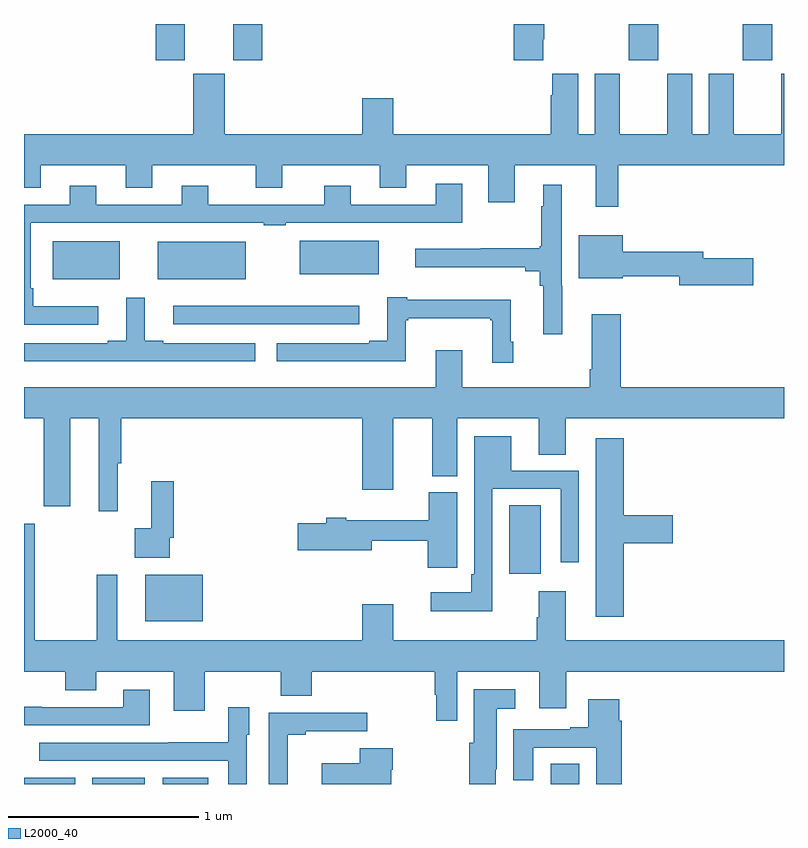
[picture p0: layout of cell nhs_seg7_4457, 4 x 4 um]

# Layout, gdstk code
import gdstk
lib = gdstk.Library(unit=1e-6, precision=1e-09)
def R(c, l, rs):  # rectangles x0, y0, x1, y1
    for r in rs: c.add(gdstk.rectangle(r[:2], r[2:], *l))
def P(c, l, *ps):  # polygons
    for p in ps: c.add(gdstk.Polygon(p, *l))
L2000_40 = (2000, 40)

nhs_seg7_4457 = lib.new_cell('nhs_seg7_4457')
R(nhs_seg7_4457, L2000_40, [(391,1024,391.269,1024.032), (391.358,1024,391.636,1024.033), (391.73,1024,391.969,1024.033), (393.773,1024,393.922,1024.106), (391.637,1024.856,391.942,1025.101), (393.554,1025.106,393.721,1025.468), (391.785,1026.42,392.764,1026.517), (391.151,1026.656,391.504,1026.856), (391.703,1026.656,392.167,1026.853), (392.45,1026.683,392.866,1026.859), (391.694,1027.809,391.846,1028), (392.102,1027.809,392.255,1028), (394.183,1027.809,394.338,1028), (394.783,1027.809,394.938,1028)])
P(nhs_seg7_4457, L2000_40, [(393.733,1027.921),(393.738,1027.921),(393.738,1028),(393.578,1028),(393.578,1027.809),(393.733,1027.809)],
  [(394.127,1027.256),(395,1027.256),(395,1027.738),(394.985,1027.738),(394.985,1027.42),(394.735,1027.42),(394.735,1027.738),(394.604,1027.738),(394.604,1027.42),(394.516,1027.42),(394.516,1027.738),(394.385,1027.738),(394.385,1027.42),(394.135,1027.42),(394.135,1027.738),(394.004,1027.738),(394.004,1027.42),(393.916,1027.42),(393.916,1027.738),(393.779,1027.738),(393.779,1027.625),(393.773,1027.625),(393.773,1027.42),(392.944,1027.42),(392.944,1027.609),(392.78,1027.609),(392.78,1027.42),(392.056,1027.42),(392.056,1027.737),(391.892,1027.737),(391.892,1027.42),(391,1027.42),(391,1027.139),(391.087,1027.139),(391.087,1027.256),(391.535,1027.256),(391.535,1027.139),(391.675,1027.139),(391.675,1027.256),(392.219,1027.256),(392.219,1027.139),(392.359,1027.139),(392.359,1027.256),(392.873,1027.256),(392.873,1027.139),(393.013,1027.139),(393.013,1027.256),(393.443,1027.256),(393.443,1027.062),(393.583,1027.062),(393.583,1027.256),(394.01,1027.256),(394.01,1027.038),(394.127,1027.038)],
  [(391.39,1026.514),(391.049,1026.514),(391.049,1026.61),(391.036,1026.61),(391.036,1026.954),(392.263,1026.954),(392.263,1026.942),(392.378,1026.942),(392.378,1026.954),(392.962,1026.954),(392.962,1026.953),(393.307,1026.953),(393.307,1027.159),(393.167,1027.159),(393.167,1027.05),(392.719,1027.05),(392.719,1027.15),(392.579,1027.15),(392.579,1027.05),(391.969,1027.05),(391.969,1027.15),(391.829,1027.15),(391.829,1027.05),(391.381,1027.05),(391.381,1027.15),(391.241,1027.15),(391.241,1027.05),(391,1027.05),(391,1026.417),(391.39,1026.417)],
  [(393.832,1026.623),(393.831,1026.623),(393.831,1027.153),(393.734,1027.153),(393.734,1027.04),(393.723,1027.04),(393.723,1026.829),(393.715,1026.829),(393.715,1026.819),(393.403,1026.819),(393.403,1026.817),(393.06,1026.817),(393.06,1026.719),(393.638,1026.719),(393.638,1026.7),(393.715,1026.7),(393.715,1026.623),(393.734,1026.623),(393.734,1026.366),(393.832,1026.366)],
  [(394.837,1026.768),(394.576,1026.768),(394.576,1026.802),(394.15,1026.802),(394.15,1026.889),(393.92,1026.889),(393.92,1026.662),(394.15,1026.662),(394.15,1026.673),(394.448,1026.673),(394.448,1026.626),(394.837,1026.626)],
  [(393.574,1026.328),(393.562,1026.328),(393.562,1026.55),(393.016,1026.55),(393.016,1026.562),(392.912,1026.562),(392.912,1026.334),(392.816,1026.334),(392.816,1026.321),(392.331,1026.321),(392.331,1026.224),(393.01,1026.224),(393.01,1026.441),(393.022,1026.441),(393.022,1026.452),(393.453,1026.452),(393.453,1026.441),(393.464,1026.441),(393.464,1026.216),(393.574,1026.216)],
  [(392.218,1026.321),(391.732,1026.321),(391.732,1026.334),(391.636,1026.334),(391.636,1026.559),(391.538,1026.559),(391.538,1026.334),(391.442,1026.334),(391.442,1026.321),(391,1026.321),(391,1026.224),(392.218,1026.224)],
  [(391.493,1025.688),(391.511,1025.688),(391.511,1025.924),(392.78,1025.924),(392.78,1025.55),(392.944,1025.55),(392.944,1025.924),(393.149,1025.924),(393.149,1025.62),(393.28,1025.62),(393.28,1025.924),(393.71,1025.924),(393.71,1025.734),(393.85,1025.734),(393.85,1025.924),(395,1025.924),(395,1026.088),(394.142,1026.088),(394.142,1026.472),(393.989,1026.472),(393.989,1026.184),(393.977,1026.184),(393.977,1026.088),(393.307,1026.088),(393.307,1026.283),(393.167,1026.283),(393.167,1026.088),(391,1026.088),(391,1025.924),(391.103,1025.924),(391.103,1025.463),(391.243,1025.463),(391.243,1025.924),(391.394,1025.924),(391.394,1025.436),(391.493,1025.436)],
  [(393.465,1025.553),(393.825,1025.553),(393.825,1025.166),(393.921,1025.166),(393.921,1025.649),(393.565,1025.649),(393.565,1025.83),(393.369,1025.83),(393.369,1025.104),(393.353,1025.104),(393.353,1025.008),(393.141,1025.008),(393.141,1024.91),(393.465,1024.91)],
  [(394.157,1025.267),(394.414,1025.267),(394.414,1025.414),(394.157,1025.414),(394.157,1025.821),(394.01,1025.821),(394.01,1024.881),(394.157,1024.881)],
  [(391.767,1025.296),(391.787,1025.296),(391.787,1025.593),(391.67,1025.593),(391.67,1025.345),(391.584,1025.345),(391.584,1025.192),(391.767,1025.192)],
  [(393.279,1025.251),(393.28,1025.251),(393.28,1025.535),(393.131,1025.535),(393.131,1025.389),(392.695,1025.389),(392.695,1025.402),(392.591,1025.402),(392.591,1025.372),(392.442,1025.372),(392.442,1025.23),(392.83,1025.23),(392.83,1025.28),(393.124,1025.28),(393.124,1025.139),(393.279,1025.139)],
  [(393.279,1024.592),(393.713,1024.592),(393.713,1024.398),(393.853,1024.398),(393.853,1024.592),(395,1024.592),(395,1024.756),(393.85,1024.756),(393.85,1025.014),(393.71,1025.014),(393.71,1024.877),(393.698,1024.877),(393.698,1024.756),(392.944,1024.756),(392.944,1024.945),(392.78,1024.945),(392.78,1024.756),(391.492,1024.756),(391.492,1025.101),(391.383,1025.101),(391.383,1024.756),(391.057,1024.756),(391.057,1025.371),(391,1025.371),(391,1024.592),(391.217,1024.592),(391.217,1024.493),(391.381,1024.493),(391.381,1024.592),(391.787,1024.592),(391.787,1024.386),(391.951,1024.386),(391.951,1024.592),(392.351,1024.592),(392.351,1024.464),(392.515,1024.464),(392.515,1024.592),(393.163,1024.592),(393.163,1024.47),(393.171,1024.47),(393.171,1024.332),(393.279,1024.332)],
  [(393.483,1024.078),(393.487,1024.078),(393.487,1024.397),(393.586,1024.397),(393.586,1024.498),(393.368,1024.498),(393.368,1024.218),(393.343,1024.218),(393.343,1024),(393.483,1024)],
  [(391.663,1024.495),(391.523,1024.495),(391.523,1024.404),(391.093,1024.404),(391.093,1024.406),(391,1024.406),(391,1024.308),(391.663,1024.308)],
  [(394.145,1024.334),(394.132,1024.334),(394.132,1024.447),(393.971,1024.447),(393.971,1024.3),(393.875,1024.3),(393.875,1024.287),(393.575,1024.287),(393.575,1024.02),(393.679,1024.02),(393.679,1024.191),(394.013,1024.191),(394.013,1024),(394.145,1024)],
  [(392.172,1024.26),(392.185,1024.26),(392.185,1024.405),(392.076,1024.405),(392.076,1024.219),(391.759,1024.219),(391.759,1024.218),(391.081,1024.218),(391.081,1024.122),(392.076,1024.122),(392.076,1024),(392.172,1024)],
  [(392.387,1024.258),(392.482,1024.258),(392.482,1024.277),(392.806,1024.277),(392.806,1024.374),(392.289,1024.374),(392.289,1024),(392.387,1024)],
  [(392.932,1024.076),(392.94,1024.076),(392.94,1024.189),(392.767,1024.189),(392.767,1024.108),(392.567,1024.108),(392.567,1024),(392.932,1024)])

lib.write_gds('nhs_seg7_4457.gds')
